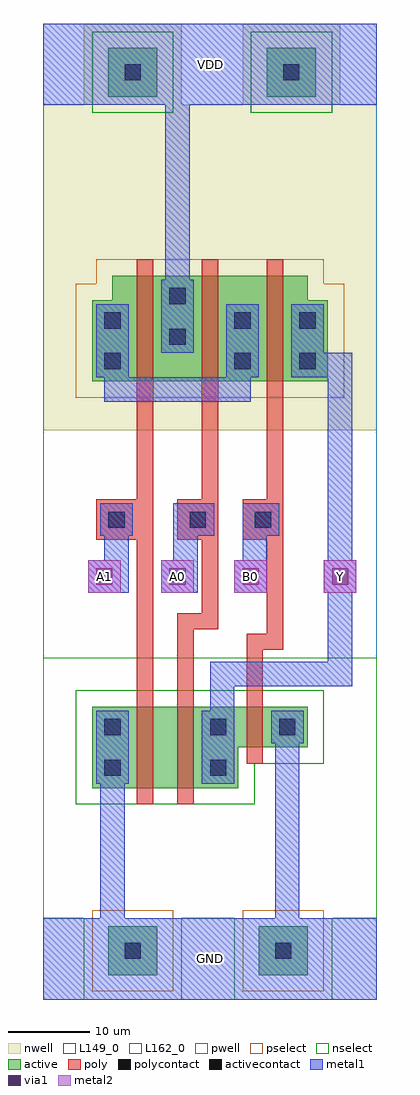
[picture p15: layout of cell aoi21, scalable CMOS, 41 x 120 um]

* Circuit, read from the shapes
.subckt aoi21 A0 A1 B0 GND VDD Y
M1 n1 A1 GND GND nfet w=10u l=2u
M2 Y A0 n1 GND nfet w=10u l=2u
M3 GND B0 Y GND nfet w=5u l=2u
M4 VDD A1 n2 VDD pfet w=13u l=2u
M5 n2 A0 VDD VDD pfet w=13u l=2u
M6 Y B0 n2 VDD pfet w=13u l=2u
.ends

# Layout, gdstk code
import gdstk
lib = gdstk.Library(unit=1e-6, precision=1e-09)
def R(c, l, rs):  # rectangles x0, y0, x1, y1
    for r in rs: c.add(gdstk.rectangle(r[:2], r[2:], *l))
def A(c, l, x, y, w, h, nx, ny, dx, dy):  # array of equal rectangles
    R(c, l, [(x+i*dx, y+j*dy, x+i*dx+w, y+j*dy+h) for i in range(nx) for j in range(ny)])
def P(c, l, *ps):  # polygons
    for p in ps: c.add(gdstk.Polygon(p, *l))
pwell = (41, 0)
nwell = (42, 0)
active = (43, 0)
pselect = (44, 0)
nselect = (45, 0)
poly = (46, 0)
polycontact = (47, 0)
activecontact = (48, 0)
metal1 = (49, 0)
via1 = (50, 0)
metal2 = (51, 0)
L149_0 = (149, 0)
L162_0 = (162, 0)

nwell_contact = lib.new_cell('nwell_contact')
R(nwell_contact, nwell, [(-6,-5,6,6)])
R(nwell_contact, active, [(-3,-3,3,3)])
R(nwell_contact, nselect, [(-5,-5,5,5)])
R(nwell_contact, activecontact, [(-1,-1,1,1)])

pwell_contact = lib.new_cell('pwell_contact')
R(pwell_contact, pwell, [(-6,-6,6,5)])
R(pwell_contact, active, [(-3,-3,3,3)])
R(pwell_contact, pselect, [(-5,-5,5,5)])
R(pwell_contact, activecontact, [(-1,-1,1,1)])

via = lib.new_cell('via')
R(via, metal1, [(-2,-2,2,2)])
R(via, via1, [(-1,-1,1,1)])
R(via, metal2, [(-2,-2,2,2)])

aoi21 = lib.new_cell('aoi21')
R(aoi21, pwell, [(0,10,41,20), (0,10,41,42)])
P(aoi21, pwell, [(0,20),(0,42),(38.5,42),(38.5,25),(30,25),(30,20)])
R(aoi21, nwell, [(0,70,41,110), (0,95,41,110)])
P(aoi21, nwell, [(0,70),(0,92),(2.5,92),(2.5,95),(38.5,95),(38.5,92),(41,92),(41,70)])
P(aoi21, active, [(6,76),(6,86),(8.5,86),(8.5,89),(32.5,89),(32.5,86),(35,86),(35,76)],
  [(6,26),(6,36),(32.5,36),(32.5,31),(24,31),(24,26)])
P(aoi21, pselect, [(4,74),(4,88),(6.5,88),(6.5,91),(34.5,91),(34.5,88),(37,88),(37,74)])
P(aoi21, nselect, [(4,24),(4,38),(34.5,38),(34.5,29),(26,29),(26,24)])
A(aoi21, poly, 11.5, 74, 2, 2, 3, 2, 8, 15)
A(aoi21, poly, 11.5, 76, 2, 13, 3, 1, 8, 0)
R(aoi21, poly, [(11.5,24,13.5,26), (16.5,24,18.5,26), (11.5,26,13.5,36), (16.5,26,18.5,36), (25,29,27,31), (25,31,27,36), (11.5,36,13.5,38), (16.5,36,18.5,38), (25,36,27,38), (6.5,56.5,11.5,61.5), (16.5,56.5,21.5,61.5), (24.5,56.5,29.5,61.5)])
R(aoi21, polycontact, [(8,58,10,60), (18,58,20,60), (26,58,28,60)])
R(aoi21, activecontact, [(7.5,27.5,9.5,29.5), (20.5,27.5,22.5,29.5), (7.5,32.5,9.5,34.5), (20.5,32.5,22.5,34.5), (29,32.5,31,34.5), (7.5,77.5,9.5,79.5), (23.5,77.5,25.5,79.5), (31.5,77.5,33.5,79.5), (15.5,80.5,17.5,82.5), (7.5,82.5,9.5,84.5), (23.5,82.5,25.5,84.5), (31.5,82.5,33.5,84.5), (15.5,85.5,17.5,87.5)])
R(aoi21, metal1, [(0,0,41,10), (0,0,41,10), (6.5,26.5,10.5,35.5), (19.5,26.5,23.5,35.5), (28,31.5,32,35.5), (7,57,11,61), (17,57,21,61), (25,57,29,61), (6.5,76.5,10.5,85.5), (22.5,76.5,26.5,85.5), (30.5,76.5,34.5,85.5), (14.5,79.5,18.5,88.5), (0,110,41,120), (0,110,41,120)])
A(aoi21, metal2, 5.5, 50, 4, 4, 3, 1, 9, 0)
R(aoi21, metal2, [(34.5,50,38.5,54)])
R(aoi21, L149_0, [(0,0,41,10), (0,0,41,10), (0,0,41,120), (7,57,11,61), (17,57,21,61), (25,57,29,61), (0,110,41,120), (0,110,41,120)])
A(aoi21, L162_0, 5.5, 50, 4, 4, 3, 1, 9, 0)
R(aoi21, L162_0, [(34.5,50,38.5,54)])
aoi21.add(gdstk.FlexPath([(9,57),(9,50)], 3, ends="flush", simple_path=True, layer=149, datatype=0))  # L149_0
aoi21.add(gdstk.FlexPath([(30,31.5),(30,10)], 3, ends="flush", simple_path=True, layer=149, datatype=0))  # L149_0
aoi21.add(gdstk.FlexPath([(9,76.5),(9,75),(24,75),(24,76.5)], 3, ends="flush", simple_path=True, layer=149, datatype=0))  # L149_0
aoi21.add(gdstk.FlexPath([(8.5,26.5),(8.5,10)], 3, ends="flush", simple_path=True, layer=149, datatype=0))  # L149_0
aoi21.add(gdstk.FlexPath([(16.5,88.5),(16.5,110)], 3, ends="flush", simple_path=True, layer=149, datatype=0))  # L149_0
aoi21.add(gdstk.FlexPath([(26,61),(26,50)], 3, ends="flush", simple_path=True, layer=149, datatype=0))  # L149_0
aoi21.add(gdstk.FlexPath([(22,35.5),(22,40),(36.5,40),(36.5,78),(30.5,78)], 3, ends="flush", simple_path=True, layer=149, datatype=0))  # L149_0
aoi21.add(gdstk.FlexPath([(17.5,61),(17.5,50)], 3, ends="flush", simple_path=True, layer=149, datatype=0))  # L149_0
aoi21.add(gdstk.FlexPath([(9,57),(9,50)], 3, ends="flush", simple_path=True, layer=49, datatype=0))  # metal1
aoi21.add(gdstk.FlexPath([(30,31.5),(30,10)], 3, ends="flush", simple_path=True, layer=49, datatype=0))  # metal1
aoi21.add(gdstk.FlexPath([(9,76.5),(9,75),(24,75),(24,76.5)], 3, ends="flush", simple_path=True, layer=49, datatype=0))  # metal1
aoi21.add(gdstk.FlexPath([(8.5,26.5),(8.5,10)], 3, ends="flush", simple_path=True, layer=49, datatype=0))  # metal1
aoi21.add(gdstk.FlexPath([(16.5,88.5),(16.5,110)], 3, ends="flush", simple_path=True, layer=49, datatype=0))  # metal1
aoi21.add(gdstk.FlexPath([(26,61),(26,50)], 3, ends="flush", simple_path=True, layer=49, datatype=0))  # metal1
aoi21.add(gdstk.FlexPath([(22,35.5),(22,40),(36.5,40),(36.5,78),(30.5,78)], 3, ends="flush", simple_path=True, layer=49, datatype=0))  # metal1
aoi21.add(gdstk.FlexPath([(17.5,61),(17.5,50)], 3, ends="flush", simple_path=True, layer=49, datatype=0))  # metal1
aoi21.add(gdstk.FlexPath([(17.5,38),(17.5,46.5),(20.5,46.5),(20.5,74)], 2, ends="flush", simple_path=True, layer=46, datatype=0))  # poly
aoi21.add(gdstk.FlexPath([(12.5,74),(12.5,38)], 2, ends="flush", simple_path=True, layer=46, datatype=0))  # poly
aoi21.add(gdstk.FlexPath([(26,38),(26,44),(28.5,44),(28.5,74)], 2, ends="flush", simple_path=True, layer=46, datatype=0))  # poly
aoi21.add(gdstk.Reference(nwell_contact, (30.5,114)))
aoi21.add(gdstk.Reference(nwell_contact, (11,114)))
aoi21.add(gdstk.Reference(pwell_contact, (29.5,6)))
aoi21.add(gdstk.Reference(pwell_contact, (11,6)))
aoi21.add(gdstk.Reference(via, (16.5,52)))
aoi21.add(gdstk.Reference(via, (36.5,52)))
aoi21.add(gdstk.Reference(via, (7.5,52)))
aoi21.add(gdstk.Reference(via, (25.5,52)))
aoi21.add(gdstk.Label('A1', (7.5,52), layer=3, texttype=0))
aoi21.add(gdstk.Label('A0', (16.5,52), layer=3, texttype=0))
aoi21.add(gdstk.Label('B0', (25.5,52), layer=3, texttype=0))
aoi21.add(gdstk.Label('Y', (36.5,52), layer=3, texttype=0))
aoi21.add(gdstk.Label('GND', (20.5,5), layer=2, texttype=0))
aoi21.add(gdstk.Label('VDD', (20.5,115), layer=2, texttype=0))

lib.write_gds('aoi21.gds')
